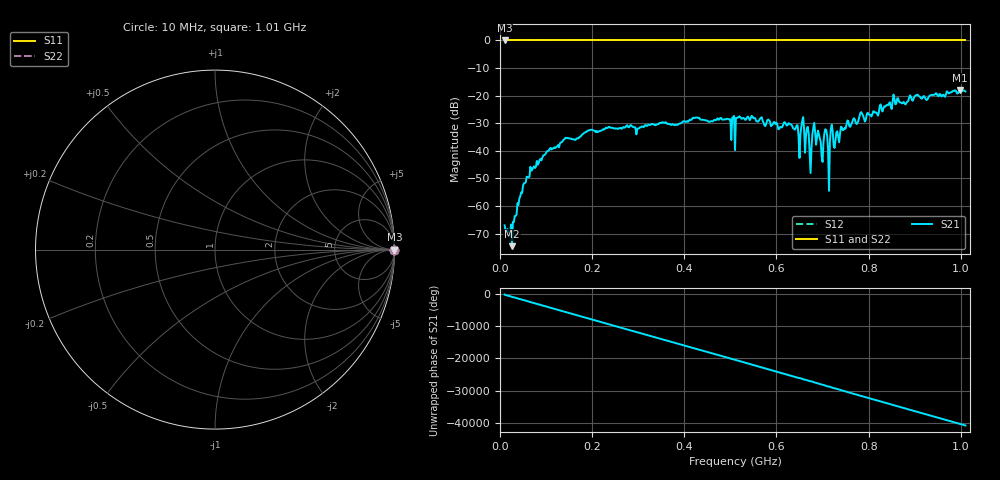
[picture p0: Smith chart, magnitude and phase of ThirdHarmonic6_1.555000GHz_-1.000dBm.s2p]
! 8/16/2025 6:28:05 PM
! C:\ANRITSUVNA\TEMP\TEMP.S2P
! CHANNEL.1
! TR.MEASUREMENT
! RAW.DATA
! RF.CORRECTION.OFF
! AVERAGING.OFF
! IF.BANDWIDTH: 5KHZ
! SWEEPTYPE:  FREQ.SWEEP(Linear)
! Reference Plane Port Info
! PORT:  PORT1  PORT2
! DISTANCE:  0  m  0  m
! TIME:  0  s  0  s
! PHASE.OFFSET:  0  deg.  0  deg.
! LOSS:  0  dB  0  dB
! REF.LOSS:  0  dB  0  dB
! REF.FREQ:  0  Hz  0  Hz
! Power Info
! POWER:  -20  dBm  -20  dBm
! EFF.POWER:  -20  dBm  -20  dBm
! SOURCE.ATTEN:  0  dB  0  dB
! TEST.ATTEN:  0  dB  0  dB
# GHZ S RI R 50.0
! FREQ.GHZ  S11RE  S11IM  S21RE  S21IM  S12RE  S12IM  S22RE  S22IM
!; PortSelection: Port_12
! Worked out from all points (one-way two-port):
!   501 points, 10 MHz to 1.01 GHz, reference 50 ohm
!   highest |S21| = -17.95 dB at 998 MHz (marker M1); lowest = -74.5 dB at 26 MHz (marker M2)
!   lowest |S11| = 0.0 dB at 10 MHz (marker M3)
!   |S11| at or under -10 dB: nowhere
!   |S22| runs from 0.0 to 0.0 dB; largest |S21 - S12| = 1.1
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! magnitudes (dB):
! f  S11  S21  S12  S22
! 10 MHz  0.0  -67.0  0.0  0.0
! 26 MHz  0.0  -74.5  0.0  0.0
! 48 MHz  0.0  -55.3  0.0  0.0
! 70 MHz  0.0  -46.8  0.0  0.0
! 142 MHz  0.0  -35.3  0.0  0.0
! 178 MHz  0.0  -34.1  0.0  0.0
! 344 MHz  0.0  -30.3  0.0  0.0
! 510 MHz  0.0  -39.7  0.0  0.0
! 630 MHz  0.0  -30.3  0.0  0.0
! 650 MHz  0.0  -42.6  0.0  0.0
! 656 MHz  0.0  -29.1  0.0  0.0
! 674 MHz  0.0  -48.0  0.0  0.0
! 678 MHz  0.0  -33.9  0.0  0.0
! 686 MHz  0.0  -37.7  0.0  0.0
! 698 MHz  0.0  -41.8  0.0  0.0
! 706 MHz  0.0  -32.2  0.0  0.0
! 714 MHz  0.0  -54.5  0.0  0.0
! 720 MHz  0.0  -30.5  0.0  0.0
! 728 MHz  0.0  -36.4  0.0  0.0
! 844 MHz  0.0  -22.9  0.0  0.0
! 998 MHz  0.0  -18.0  0.0  0.0
! 1.01 GHz  0.0  -18.5  0.0  0.0
